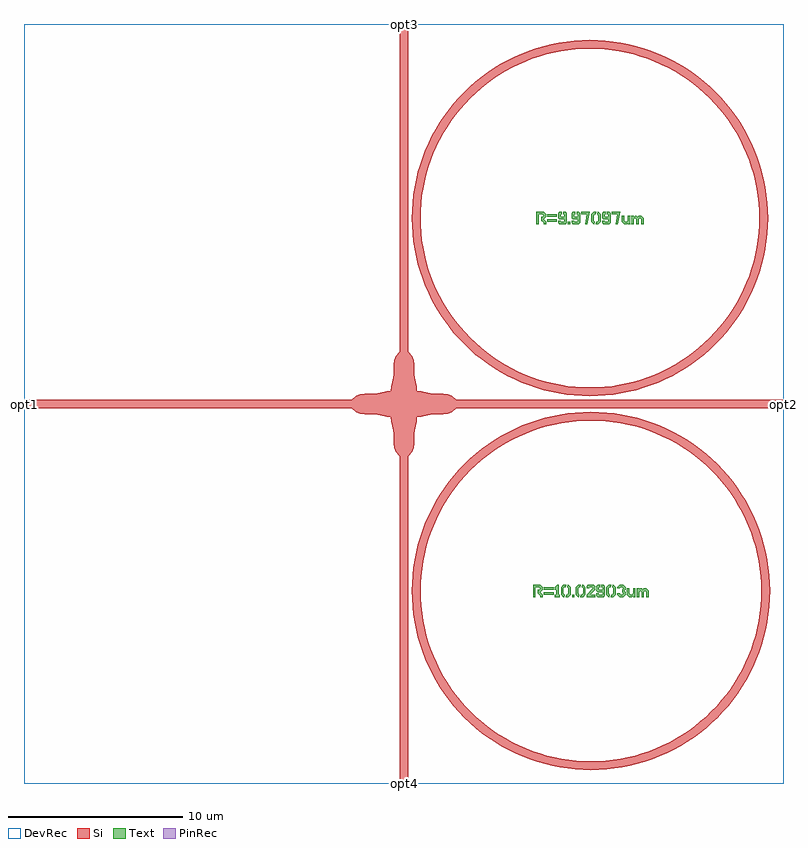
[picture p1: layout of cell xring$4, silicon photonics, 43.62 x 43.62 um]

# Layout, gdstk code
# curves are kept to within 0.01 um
from math import pi, radians
import gdstk
lib = gdstk.Library(unit=1e-6, precision=1e-09)
def R(c, l, rs):  # rectangles x0, y0, x1, y1
    for r in rs: c.add(gdstk.rectangle(r[:2], r[2:], *l))
def P(c, l, *ps):  # polygons
    for p in ps: c.add(gdstk.Polygon(p, *l))
Si = (1, 0)
PinRec = (1, 10)
Text = (10, 0)
DevRec = (68, 0)

straight_gdsfactorypcomp = lib.new_cell('straight_gdsfactorypcomponentspwaveguidespstraight_L17__05a76f0e')
R(straight_gdsfactorypcomp, Si, [(0,-0.25,17,0.25)])

text_gdsfactorypcomponen = lib.new_cell('text_gdsfactorypcomponentsptextsptext_TR9p97097um_S0p7__023686bc')
R(text_gdsfactorypcomponen, Text, [(1.89,0,2.03,0.14), (0.7,0.14,1.26,0.28), (0.7,0.42,1.26,0.56)])
P(text_gdsfactorypcomponen, Text, [(1.4,0),(1.33,0.07),(1.33,0.21),(1.47,0.21),(1.47,0.14),(1.68,0.14),(1.68,0.28),(1.4,0.28),(1.33,0.35),(1.33,0.63),(1.4,0.7),(1.54,0.7),(1.54,0.56),(1.47,0.56),(1.47,0.42),(1.68,0.42),(1.68,0.56),(1.61,0.56),(1.61,0.7),(1.75,0.7),(1.82,0.63),(1.82,0.07),(1.75,0)],
  [(2.17,0),(2.1,0.07),(2.1,0.21),(2.24,0.21),(2.24,0.14),(2.45,0.14),(2.45,0.28),(2.17,0.28),(2.1,0.35),(2.1,0.63),(2.17,0.7),(2.31,0.7),(2.31,0.56),(2.24,0.56),(2.24,0.42),(2.45,0.42),(2.45,0.56),(2.38,0.56),(2.38,0.7),(2.52,0.7),(2.59,0.63),(2.59,0.07),(2.52,0)],
  [(3.92,0),(3.85,0.07),(3.85,0.21),(3.99,0.21),(3.99,0.14),(4.2,0.14),(4.2,0.28),(3.92,0.28),(3.85,0.35),(3.85,0.63),(3.92,0.7),(4.06,0.7),(4.06,0.56),(3.99,0.56),(3.99,0.42),(4.2,0.42),(4.2,0.56),(4.13,0.56),(4.13,0.7),(4.27,0.7),(4.34,0.63),(4.34,0.07),(4.27,0)],
  [(5.11,0),(4.97,0.14),(4.97,0.49),(5.11,0.49),(5.11,0.21),(5.18,0.14),(5.25,0.14),(5.32,0.21),(5.32,0.49),(5.46,0.49),(5.46,0),(5.32,0),(5.32,0.07),(5.25,0)],
  [(3.36,0),(3.22,0.14),(3.22,0.56),(3.36,0.7),(3.521,0.7),(3.486,0.56),(3.43,0.56),(3.36,0.49),(3.36,0.21),(3.43,0.14),(3.395,0)],
  [(5.53,0),(5.53,0.49),(5.67,0.49),(5.67,0.42),(5.74,0.49),(5.81,0.49),(5.88,0.42),(5.95,0.49),(6.09,0.49),(6.23,0.35),(6.23,0),(6.09,0),(6.09,0.28),(6.02,0.35),(5.95,0.28),(5.95,0),(5.81,0),(5.81,0.28),(5.74,0.35),(5.67,0.28),(5.67,0)],
  [(0.07,0),(0.07,0.7),(0.49,0.7),(0.63,0.56),(0.63,0.42),(0.49,0.28),(0.63,0.14),(0.63,0),(0.49,0),(0.49,0.07),(0.35,0.21),(0.35,0.42),(0.42,0.42),(0.49,0.49),(0.42,0.56),(0.21,0.56),(0.21,0)],
  [(2.87,0),(2.982,0.56),(2.66,0.56),(2.66,0.7),(3.15,0.7),(3.01,0)],
  [(4.62,0),(4.732,0.56),(4.41,0.56),(4.41,0.7),(4.9,0.7),(4.76,0)],
  [(3.479,0),(3.514,0.14),(3.57,0.14),(3.64,0.21),(3.64,0.49),(3.57,0.56),(3.605,0.7),(3.64,0.7),(3.78,0.56),(3.78,0.14),(3.64,0)])

unnamed_4 = lib.new_cell('Unnamed_4')
unnamed_4.add(gdstk.Reference(text_gdsfactorypcomponen, (-3.15,-0.35)))

ebeam_crossing4 = lib.new_cell('ebeam_crossing4')
P(ebeam_crossing4, Si, [(-0.25,-4.8),(-0.25,-3),(-0.46,-2.75),(-0.55,-2.5),(-0.59,-2.25),(-0.62,-1.5),(-0.72,-1),(-0.75,-0.74),(-1,-0.72),(-1.5,-0.62),(-2.25,-0.59),(-2.5,-0.55),(-2.75,-0.46),(-3,-0.25),(-4.8,-0.25),(-4.8,0.25),(-3,0.25),(-2.75,0.46),(-2.5,0.55),(-2.25,0.59),(-1.5,0.62),(-1,0.72),(-0.75,0.74),(-0.72,1),(-0.62,1.5),(-0.59,2.25),(-0.55,2.5),(-0.46,2.75),(-0.25,3),(-0.25,4.8),(0.25,4.8),(0.25,3),(0.46,2.75),(0.55,2.5),(0.59,2.25),(0.62,1.5),(0.72,1),(0.74,0.75),(1,0.72),(1.5,0.62),(2.25,0.59),(2.5,0.55),(2.75,0.46),(3,0.25),(4.8,0.25),(4.8,-0.25),(3,-0.25),(2.75,-0.46),(2.5,-0.55),(2.25,-0.59),(1.5,-0.62),(1,-0.72),(0.74,-0.75),(0.72,-1),(0.62,-1.5),(0.59,-2.25),(0.55,-2.5),(0.46,-2.75),(0.25,-3),(0.25,-4.8)])
ebeam_crossing4.add(gdstk.Label('Source: Wei Shi', (-4,-3), layer=10, texttype=0))
ebeam_crossing4.add(gdstk.Label('Component=ebeam_crossing4', (-4,-1), layer=68, texttype=0))
ebeam_crossing4.add(gdstk.Label('Lumerical_INTERCONNECT_library=Design kits/ebeam', (-4,-4), layer=68, texttype=0))

c_text_gdsfactorypcomponen = lib.new_cell('text_gdsfactorypcomponentsptextsptext_TR10p02903um_S0p7_a54274cb')
R(c_text_gdsfactorypcomponen, Text, [(2.31,0,2.45,0.14), (0.7,0.14,1.26,0.28), (0.7,0.42,1.26,0.56)])
P(c_text_gdsfactorypcomponen, Text, [(1.33,0),(1.33,0.14),(1.4,0.14),(1.4,0.42),(1.33,0.42),(1.33,0.56),(1.47,0.7),(1.54,0.7),(1.54,0.14),(1.61,0.14),(1.61,0)],
  [(3.78,0),(3.71,0.07),(3.71,0.21),(3.85,0.21),(3.85,0.14),(4.06,0.14),(4.06,0.28),(3.78,0.28),(3.71,0.35),(3.71,0.63),(3.78,0.7),(3.92,0.7),(3.92,0.56),(3.85,0.56),(3.85,0.42),(4.06,0.42),(4.06,0.56),(3.99,0.56),(3.99,0.7),(4.13,0.7),(4.2,0.63),(4.2,0.07),(4.13,0)],
  [(1.939,0),(1.974,0.14),(2.03,0.14),(2.1,0.21),(2.1,0.49),(2.03,0.56),(2.065,0.7),(2.1,0.7),(2.24,0.56),(2.24,0.14),(2.1,0)],
  [(2.779,0),(2.814,0.14),(2.87,0.14),(2.94,0.21),(2.94,0.49),(2.87,0.56),(2.905,0.7),(2.94,0.7),(3.08,0.56),(3.08,0.14),(2.94,0)],
  [(4.529,0),(4.564,0.14),(4.62,0.14),(4.69,0.21),(4.69,0.49),(4.62,0.56),(4.655,0.7),(4.69,0.7),(4.83,0.56),(4.83,0.14),(4.69,0)],
  [(5.6,0),(5.46,0.14),(5.46,0.49),(5.6,0.49),(5.6,0.21),(5.67,0.14),(5.74,0.14),(5.81,0.21),(5.81,0.49),(5.95,0.49),(5.95,0),(5.81,0),(5.81,0.07),(5.74,0)],
  [(1.82,0),(1.68,0.14),(1.68,0.56),(1.82,0.7),(1.981,0.7),(1.946,0.56),(1.89,0.56),(1.82,0.49),(1.82,0.21),(1.89,0.14),(1.855,0)],
  [(2.66,0),(2.52,0.14),(2.52,0.56),(2.66,0.7),(2.821,0.7),(2.786,0.56),(2.73,0.56),(2.66,0.49),(2.66,0.21),(2.73,0.14),(2.695,0)],
  [(4.41,0),(4.27,0.14),(4.27,0.56),(4.41,0.7),(4.571,0.7),(4.536,0.56),(4.48,0.56),(4.41,0.49),(4.41,0.21),(4.48,0.14),(4.445,0)],
  [(6.02,0),(6.02,0.49),(6.16,0.49),(6.16,0.42),(6.23,0.49),(6.3,0.49),(6.37,0.42),(6.44,0.49),(6.58,0.49),(6.72,0.35),(6.72,0),(6.58,0),(6.58,0.28),(6.51,0.35),(6.44,0.28),(6.44,0),(6.3,0),(6.3,0.28),(6.23,0.35),(6.16,0.28),(6.16,0)],
  [(0.07,0),(0.07,0.7),(0.49,0.7),(0.63,0.56),(0.63,0.42),(0.49,0.28),(0.63,0.14),(0.63,0),(0.49,0),(0.49,0.07),(0.35,0.21),(0.35,0.42),(0.42,0.42),(0.49,0.49),(0.42,0.56),(0.21,0.56),(0.21,0)],
  [(5.04,0),(4.9,0.14),(4.9,0.21),(5.04,0.21),(5.11,0.14),(5.18,0.14),(5.25,0.21),(5.18,0.28),(5.18,0.42),(5.25,0.49),(5.18,0.56),(5.11,0.56),(5.04,0.49),(4.9,0.49),(4.9,0.56),(5.04,0.7),(5.25,0.7),(5.39,0.56),(5.39,0.42),(5.32,0.35),(5.39,0.28),(5.39,0.14),(5.25,0)],
  [(3.15,0),(3.15,0.14),(3.5,0.49),(3.5,0.56),(3.29,0.56),(3.29,0.49),(3.15,0.49),(3.15,0.63),(3.22,0.7),(3.57,0.7),(3.64,0.63),(3.64,0.42),(3.36,0.14),(3.64,0.14),(3.64,0)])

unnamed_16 = lib.new_cell('Unnamed_16')
unnamed_16.add(gdstk.Reference(c_text_gdsfactorypcomponen, (-3.395,-0.35)))

ring_gdsfactorypcomponen = lib.new_cell('ring_gdsfactorypcomponentspringspring_R9p97096774193548_4121edf6')
P(ring_gdsfactorypcomponen, Si, [(0,-10.221),(-0.891,-10.182),(-1.334,-10.134),(-1.775,-10.066),(-2.212,-9.979),(-3.074,-9.748),(-3.496,-9.605),(-3.911,-9.443),(-4.72,-9.066),(-5.11,-8.852),(-5.863,-8.373),(-6.57,-7.83),(-7.227,-7.227),(-7.83,-6.57),(-8.373,-5.863),(-8.852,-5.11),(-9.066,-4.72),(-9.443,-3.911),(-9.605,-3.496),(-9.748,-3.074),(-9.873,-2.645),(-10.066,-1.775),(-10.134,-1.334),(-10.182,-0.891),(-10.221,0),(-10.182,0.891),(-10.134,1.334),(-10.066,1.775),(-9.979,2.212),(-9.748,3.074),(-9.605,3.496),(-9.443,3.911),(-9.066,4.72),(-8.852,5.11),(-8.373,5.863),(-7.83,6.57),(-7.227,7.227),(-6.57,7.83),(-5.863,8.373),(-5.11,8.852),(-4.72,9.066),(-3.911,9.443),(-3.496,9.605),(-3.074,9.748),(-2.645,9.873),(-1.775,10.066),(-1.334,10.134),(-0.891,10.182),(0,10.221),(0.891,10.182),(1.334,10.134),(1.775,10.066),(2.212,9.979),(3.074,9.748),(3.496,9.605),(3.911,9.443),(4.72,9.066),(5.11,8.852),(5.863,8.373),(6.57,7.83),(7.227,7.227),(7.83,6.57),(8.373,5.863),(8.852,5.11),(9.066,4.72),(9.443,3.911),(9.605,3.496),(9.748,3.074),(9.873,2.645),(10.066,1.775),(10.134,1.334),(10.182,0.891),(10.221,0),(9.721,0),(9.712,0.424),(9.638,1.269),(9.491,2.104),(9.271,2.923),(8.981,3.72),(8.623,4.489),(8.199,5.223),(7.963,5.576),(7.447,6.249),(7.167,6.567),(6.874,6.874),(6.249,7.447),(5.576,7.963),(5.223,8.199),(4.489,8.623),(3.72,8.981),(2.923,9.271),(2.104,9.491),(1.269,9.638),(0.847,9.684),(0.424,9.712),(-0.424,9.712),(-1.269,9.638),(-2.104,9.491),(-2.516,9.39),(-3.325,9.135),(-3.72,8.981),(-4.489,8.623),(-5.223,8.199),(-5.576,7.963),(-6.249,7.447),(-6.874,6.874),(-7.447,6.249),(-7.712,5.918),(-8.199,5.223),(-8.419,4.86),(-8.623,4.489),(-8.981,3.72),(-9.135,3.325),(-9.39,2.516),(-9.491,2.104),(-9.638,1.269),(-9.712,0.424),(-9.712,-0.424),(-9.684,-0.847),(-9.638,-1.269),(-9.491,-2.104),(-9.39,-2.516),(-9.135,-3.325),(-8.981,-3.72),(-8.623,-4.489),(-8.199,-5.223),(-7.963,-5.576),(-7.447,-6.249),(-6.874,-6.874),(-6.567,-7.167),(-6.249,-7.447),(-5.576,-7.963),(-5.223,-8.199),(-4.489,-8.623),(-3.72,-8.981),(-3.325,-9.135),(-2.516,-9.39),(-2.104,-9.491),(-1.269,-9.638),(-0.424,-9.712),(0.424,-9.712),(0.847,-9.684),(1.269,-9.638),(2.104,-9.491),(2.516,-9.39),(3.325,-9.135),(3.72,-8.981),(4.489,-8.623),(5.223,-8.199),(5.576,-7.963),(6.249,-7.447),(6.874,-6.874),(7.447,-6.249),(7.963,-5.576),(8.199,-5.223),(8.623,-4.489),(8.981,-3.72),(9.135,-3.325),(9.39,-2.516),(9.491,-2.104),(9.638,-1.269),(9.712,-0.424),(9.721,0),(10.221,0),(10.182,-0.891),(10.134,-1.334),(10.066,-1.775),(9.979,-2.212),(9.748,-3.074),(9.605,-3.496),(9.443,-3.911),(9.066,-4.72),(8.852,-5.11),(8.373,-5.863),(7.83,-6.57),(7.227,-7.227),(6.57,-7.83),(5.863,-8.373),(5.11,-8.852),(4.72,-9.066),(3.911,-9.443),(3.496,-9.605),(3.074,-9.748),(2.645,-9.873),(1.775,-10.066),(1.334,-10.134),(0.891,-10.182)])

c_ring_gdsfactorypcomponen = lib.new_cell('ring_gdsfactorypcomponentspringspring_R10p0290322580645_e20c1563')
P(c_ring_gdsfactorypcomponen, Si, [(0,-10.279),(-0.896,-10.24),(-1.785,-10.123),(-2.66,-9.929),(-3.516,-9.659),(-3.934,-9.497),(-4.746,-9.118),(-5.14,-8.902),(-5.896,-8.42),(-6.607,-7.874),(-7.268,-7.268),(-7.874,-6.607),(-8.42,-5.896),(-8.902,-5.14),(-9.118,-4.746),(-9.497,-3.934),(-9.659,-3.516),(-9.929,-2.66),(-10.123,-1.785),(-10.24,-0.896),(-10.279,0),(-10.24,0.896),(-10.123,1.785),(-9.929,2.66),(-9.659,3.516),(-9.497,3.934),(-9.118,4.746),(-8.902,5.14),(-8.42,5.896),(-7.874,6.607),(-7.268,7.268),(-6.607,7.874),(-5.896,8.42),(-5.14,8.902),(-4.746,9.118),(-3.934,9.497),(-3.516,9.659),(-2.66,9.929),(-1.785,10.123),(-0.896,10.24),(0,10.279),(0.896,10.24),(1.785,10.123),(2.66,9.929),(3.516,9.659),(3.934,9.497),(4.746,9.118),(5.14,8.902),(5.896,8.42),(6.607,7.874),(7.268,7.268),(7.874,6.607),(8.42,5.896),(8.902,5.14),(9.118,4.746),(9.497,3.934),(9.659,3.516),(9.929,2.66),(10.123,1.785),(10.24,0.896),(10.279,0),(9.779,0),(9.742,0.852),(9.63,1.698),(9.446,2.531),(9.326,2.941),(9.035,3.742),(8.863,4.133),(8.469,4.89),(8.011,5.609),(7.491,6.286),(7.21,6.607),(6.607,7.21),(6.286,7.491),(5.609,8.011),(4.89,8.469),(4.133,8.863),(3.742,9.035),(3.345,9.189),(2.531,9.446),(1.698,9.63),(0.852,9.742),(0.427,9.77),(-0.427,9.77),(-1.276,9.695),(-2.117,9.547),(-2.941,9.326),(-3.742,9.035),(-4.133,8.863),(-4.89,8.469),(-5.609,8.011),(-5.953,7.758),(-6.607,7.21),(-6.915,6.915),(-7.21,6.607),(-7.758,5.953),(-8.011,5.609),(-8.469,4.89),(-8.863,4.133),(-9.035,3.742),(-9.189,3.345),(-9.446,2.531),(-9.547,2.117),(-9.695,1.276),(-9.77,0.427),(-9.77,-0.427),(-9.742,-0.852),(-9.63,-1.698),(-9.547,-2.117),(-9.446,-2.531),(-9.189,-3.345),(-8.863,-4.133),(-8.469,-4.89),(-8.248,-5.254),(-8.011,-5.609),(-7.491,-6.286),(-7.21,-6.607),(-6.607,-7.21),(-6.286,-7.491),(-5.609,-8.011),(-4.89,-8.469),(-4.133,-8.863),(-3.742,-9.035),(-3.345,-9.189),(-2.531,-9.446),(-2.117,-9.547),(-1.276,-9.695),(-0.427,-9.77),(0.427,-9.77),(0.852,-9.742),(1.698,-9.63),(2.117,-9.547),(2.531,-9.446),(3.345,-9.189),(4.133,-8.863),(4.89,-8.469),(5.254,-8.248),(5.609,-8.011),(6.286,-7.491),(6.915,-6.915),(7.491,-6.286),(8.011,-5.609),(8.248,-5.254),(8.469,-4.89),(8.863,-4.133),(9.189,-3.345),(9.446,-2.531),(9.547,-2.117),(9.695,-1.276),(9.77,-0.427),(9.779,0),(10.279,0),(10.24,-0.896),(10.123,-1.785),(9.929,-2.66),(9.659,-3.516),(9.497,-3.934),(9.118,-4.746),(8.902,-5.14),(8.42,-5.896),(7.874,-6.607),(7.268,-7.268),(6.607,-7.874),(5.896,-8.42),(5.14,-8.902),(4.746,-9.118),(3.934,-9.497),(3.516,-9.659),(2.66,-9.929),(1.785,-10.123),(0.896,-10.24)])

xring_4 = lib.new_cell('xring$4')
R(xring_4, DevRec, [(0,0,43.6,43.6)])
xring_4.add(gdstk.FlexPath([(0.01,21.8),(-0.01,21.8)], 0.5, ends="flush", simple_path=True, layer=1, datatype=10))  # PinRec
xring_4.add(gdstk.FlexPath([(43.59,21.8),(43.61,21.8)], 0.5, ends="flush", simple_path=True, layer=1, datatype=10))  # PinRec
xring_4.add(gdstk.FlexPath([(21.8,43.59),(21.8,43.61)], 0.5, ends="flush", simple_path=True, layer=1, datatype=10))  # PinRec
xring_4.add(gdstk.FlexPath([(21.8,0.01),(21.8,-0.01)], 0.5, ends="flush", simple_path=True, layer=1, datatype=10))  # PinRec
xring_4.add(gdstk.Reference(straight_gdsfactorypcomp, (21.8,26.6), rotation=pi/2))
xring_4.add(gdstk.Reference(unnamed_4, (32.471,32.471)))
xring_4.add(gdstk.Reference(straight_gdsfactorypcomp, (26.6,21.8)))
xring_4.add(gdstk.Reference(straight_gdsfactorypcomp, (17,21.8), rotation=pi))
xring_4.add(gdstk.Reference(ebeam_crossing4, (21.8,21.8)))
xring_4.add(gdstk.Reference(straight_gdsfactorypcomp, (21.8,17), rotation=3*pi/2))
xring_4.add(gdstk.Reference(unnamed_16, (32.529,11.071)))
xring_4.add(gdstk.Reference(ring_gdsfactorypcomponen, (32.471,32.471)))
xring_4.add(gdstk.Reference(c_ring_gdsfactorypcomponen, (32.529,11.071)))
xring_4.add(gdstk.Label('opt2', (43.6,21.8), layer=1, texttype=10))
xring_4.add(gdstk.Label('opt1', (0,21.8), layer=1, texttype=10))
xring_4.add(gdstk.Label('opt3', (21.8,43.6), layer=1, texttype=10))
xring_4.add(gdstk.Label('opt4', (21.8,0), layer=1, texttype=10))

lib.write_gds('xring_4.gds')
